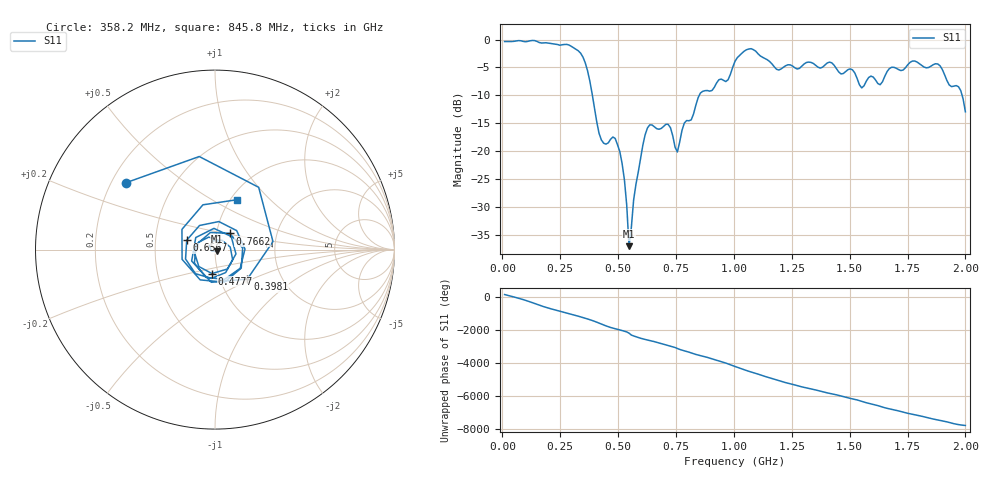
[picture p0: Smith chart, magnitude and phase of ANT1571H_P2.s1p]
!Created with skrf (http://scikit-rf.org).
# Hz S RI R 50.0
!freq ReS11 ImS11
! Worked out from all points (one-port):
!   201 points, 10 MHz to 2 GHz, reference 50 ohm
!   lowest |S11| = -36.9 dB at 547.3 MHz (marker M1), VSWR 1.03, Z = 51.1 - j0.972 ohm
!   |S11| at or under -10 dB: 389.1 MHz to 850.5 MHz (461.3 MHz wide, 74.4 % of centre); 1.986 GHz to end of sweep
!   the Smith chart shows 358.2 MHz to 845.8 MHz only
!   S11 on the Smith chart (normalised r, x): 358.2 MHz: 0.26, +0.31; 398.1 MHz: 1.35, -0.47; 477.6 MHz: 0.93, -0.25; 656.8 MHz: 0.72, +0.08; 766.2 MHz: 1.16, +0.21; 845.8 MHz: 1.07, +0.65
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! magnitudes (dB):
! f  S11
! 10 MHz  -0.4
! 258.8 MHz  -0.9
! 358.2 MHz  -4.2
! 398.1 MHz  -12.3
! 427.9 MHz  -18.0
! 477.6 MHz  -17.4
! 507.5 MHz  -20.0
! 527.4 MHz  -25.1
! 547.3 MHz  -36.9
! 567.2 MHz  -28.7
! 607 MHz  -18.9
! 626.9 MHz  -15.8
! 656.8 MHz  -15.6
! 716.5 MHz  -15.2
! 756.2 MHz  -20.1
! 766.2 MHz  -18.3
! 845.8 MHz  -10.4
! 975.1 MHz  -7.2
! 1.005 GHz  -3.9
! 1.075 GHz  -1.6
! 1.184 GHz  -5.3
! 1.254 GHz  -4.7
! 1.502 GHz  -5.3
! 1.552 GHz  -8.7
! 1.751 GHz  -4.5
! 1.891 GHz  -4.7
! 1.98 GHz  -9.1
! 2 GHz  -12.9
